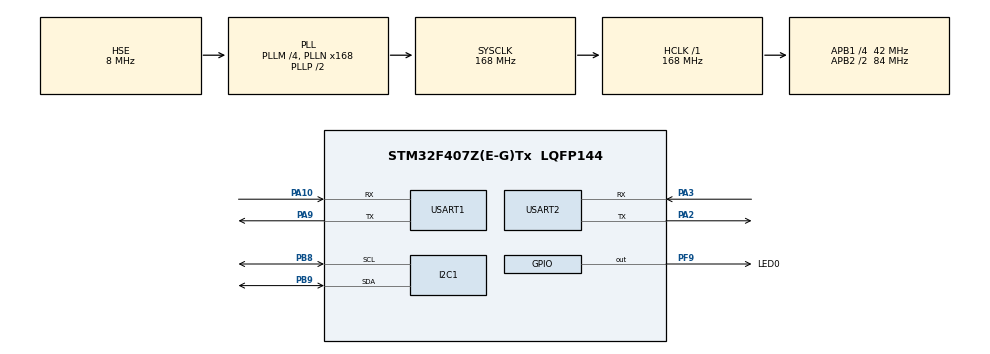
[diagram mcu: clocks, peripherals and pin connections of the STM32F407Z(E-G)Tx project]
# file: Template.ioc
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Mcu.Family=STM32F4
Mcu.Name=STM32F407Z(E-G)Tx
Mcu.Package=LQFP144
NVIC.PriorityGroup=NVIC_PRIORITYGROUP_4
NVIC.USART2_IRQn=true\:0\:0\:false\:false\:true\:true\:true
PA10.Mode=Asynchronous
PA10.Signal=USART1_RX
PA13.Mode=Serial_Wire
PA13.Signal=SYS_JTMS-SWDIO
PA14.Mode=Serial_Wire
PA14.Signal=SYS_JTCK-SWCLK
PA2.Mode=Asynchronous
PA2.Signal=USART2_TX
PA3.Mode=Asynchronous
PA3.Signal=USART2_RX
PA9.Mode=Asynchronous
PA9.Signal=USART1_TX
PB8.Mode=I2C
PB8.Signal=I2C1_SCL
PB9.Mode=I2C
PB9.Signal=I2C1_SDA
PF9.GPIO_Label=LED0
PF9.PinState=GPIO_PIN_SET
PF9.Signal=GPIO_Output
PH0-OSC_IN.Mode=HSE-External-Oscillator
PH0-OSC_IN.Signal=RCC_OSC_IN
PH1-OSC_OUT.Mode=HSE-External-Oscillator
PH1-OSC_OUT.Signal=RCC_OSC_OUT
ProjectManager.HeapSize=0x200
ProjectManager.StackSize=0x400
ProjectManager.TargetToolchain=MDK-ARM V5.27
RCC.48MHZClocksFreq_Value=84000000
RCC.AHBFreq_Value=168000000
RCC.APB1CLKDivider=RCC_HCLK_DIV4
RCC.APB1Freq_Value=42000000
RCC.APB1TimFreq_Value=84000000
RCC.APB2CLKDivider=RCC_HCLK_DIV2
RCC.APB2Freq_Value=84000000
RCC.APB2TimFreq_Value=168000000
RCC.CortexFreq_Value=168000000
RCC.HCLKFreq_Value=168000000
RCC.HSE_VALUE=8000000
RCC.HSI_VALUE=16000000
RCC.LSE_VALUE=32768
RCC.PLLM=4
RCC.PLLN=168
RCC.PLLSourceVirtual=RCC_PLLSOURCE_HSE
RCC.SYSCLKFreq_VALUE=168000000
RCC.SYSCLKSource=RCC_SYSCLKSOURCE_PLLCLK
RCC.VCOOutputFreq_Value=336000000
USART1.VirtualMode=VM_ASYNC
USART2.VirtualMode=VM_ASYNC
board=custom

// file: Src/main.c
/* USER CODE BEGIN Header */
/**
  ******************************************************************************
  * @file           : main.c
  * @brief          : Main program body
  ******************************************************************************
  * @attention
  *
  * <h2><center>&copy; Copyright (c) 2020 STMicroelectronics.
  * All rights reserved.</center></h2>
  *
  * This software component is licensed by ST under BSD 3-Clause license,
  * the "License"; You may not use this file except in compliance with the
  * License. You may obtain a copy of the License at:
  *                        opensource.org/licenses/BSD-3-Clause
  *
  ******************************************************************************
  */
/* USER CODE END Header */

#include "main.h"
#include "i2c.h"
#include "usart.h"
#include "gpio.h"

/* USER CODE BEGIN Includes */
#include <stdio.h>
#include "bmp280.h"
#include <jansson.h>
#include <string.h>
/* USER CODE END Includes */

void SystemClock_Config(void);

/* USER CODE BEGIN 0 */
#define RX_LEN        128

static uint8_t rx_byte;
static uint8_t rx_index = 0;
static uint8_t rx_buf[RX_LEN];
static uint8_t mqtt_connected = 0;

static void clear_rx_buf(void)
{
  rx_index = 0;
  memset(rx_buf, 0x00, RX_LEN);
}

//UART2接收数据中断的回调函数
void HAL_UART_RxCpltCallback(UART_HandleTypeDef *huart)
{
  HAL_StatusTypeDef status;
  /* Prevent unused argument(s) compilation warning */
  //UNUSED(huart);
  /* NOTE: This function should not be modified, when the callback is needed,
           the HAL_UART_RxCpltCallback could be implemented in the user file
   */
  //printf("%c", rx_byte);
  rx_buf[rx_index++] = rx_byte;
  do {
    status = HAL_UART_Receive_IT(&huart2, &rx_byte, 1);
  } while(status != HAL_OK);
}

static void wait_for_connected(void)
{
  printf("wait for mqtt connected...\r\n");
  while(!mqtt_connected){
    if(rx_index > 0 && (rx_buf[rx_index - 1] == 0x0d)){
      char *strx = strstr((const char *)rx_buf,
                    "CONNECT OK");
      if(strx) {
        printf("MQTT CONNECT OK!!!\r\n");
        mqtt_connected = 1;
      }
      clear_rx_buf();
    }
  }
}

static void publish(const char *topic, const char *msg, uint32_t len)
{
  uint8_t sendbuf1[128];
  uint8_t sendbuf2[128];
  uint8_t sendbytes = 0;

  memset(sendbuf1, 0x00, 128);
  memset(sendbuf2, 0x00, 128);
  sendbytes += snprintf((char *)sendbuf1, 128, "AT+PUBILSH=\"%s\",%d,0\r\n", topic, len);
  HAL_UART_Transmit(&huart2, sendbuf1, sendbytes, 0xFFFF);
  sendbytes += snprintf((char *)sendbuf2, 128, "%s\r\n", msg);
  HAL_Delay(100);
  HAL_UART_Transmit(&huart2, sendbuf2, sendbytes, 0xFFFF);
  HAL_Delay(100);
}

//json数据打印测试
void json_test(void)
{
  json_t *root;
  char *str;

  root = json_pack("{sisfss}",
          "id", 123,
          "temp", 23.8,
          "method", "post");
  str = json_dumps(root, JSON_ENCODE_ANY);
  if(str != NULL){
    printf("str: %s\r\n", str);
  } else {
    printf("failed to dumps root\r\n");
  }

  free(root);//释放内存
  free(str);
}

/* USER CODE END 0 */

int main(void)
{
  /* USER CODE BEGIN 1 */
	float temperature;
  static char temp_str[16];
  static uint8_t bytes = 0;
  /* USER CODE END 1 */

  /* MCU Configuration--------------------------------------------------------*/

  /* Reset of all peripherals, Initializes the Flash interface and the Systick. */
  HAL_Init();

  /* Configure the system clock */
  SystemClock_Config();

  /* Initialize all configured peripherals */
  MX_GPIO_Init();
  MX_USART1_UART_Init();
  MX_I2C1_Init();
  MX_USART2_UART_Init();
  /* USER CODE BEGIN 2 */
  bmp280_init();
  HAL_UART_Receive_IT(&huart2, &rx_byte, 1);
  //json_test();
  //AT指令集配置GPRS
//  HAL_UART_Transmit(&huart2, (uint8_t *)"AT+MQTTMODE?\r\n", 14, 0xFFFF);
//  HAL_UART_Transmit(&huart2, (uint8_t *)"AT+IPPORT=\"a139Uz564DX.iot-as-mqtt.cn-shanghai.aliyuncs.com\",1883\r\n", 67, 0xFFFF);
//  HAL_UART_Transmit(&huart2, (uint8_t *)"AT+CLIENTID=\"12345|securemode=3,signmethod=hmacsha1,timestamp=0|\"\r\n", 67, 0xFFFF);
//  HAL_UART_Transmit(&huart2, (uint8_t *)"AT+USERPWD=\"STM32F407ZG_NODE001&a139Uz564DX\",\"A30B37003C802426E0B50B5281C30DBFEBC8D925\"\r\n", 89, 0xFFFF);
//  HAL_UART_Transmit(&huart2, (uint8_t *)"AT&W\r\n", 6, 0xFFFF);
//  HAL_UART_Transmit(&huart2, (uint8_t *)"AT+CFUN=1\r\n", 11, 0xFFFF);

  HAL_UART_Transmit(&huart2, (uint8_t *)"AT+MQTTMODE?\r\n", 14, 0xFFFF);
  HAL_UART_Transmit(&huart2, (uint8_t *)"AT+IPPORT=\"a139Uz564DX.iot-as-mqtt.cn-shanghai.aliyuncs.com\",1883\r\n", 67, 0xFFFF);
  HAL_UART_Transmit(&huart2, (uint8_t *)"AT+CLIENTID=\"12345|securemode=3,signmethod=hmacsha1,timestamp=0|\"\r\n", 67, 0xFFFF);
  HAL_UART_Transmit(&huart2, (uint8_t *)"AT+USERPWD=\"STM32F407_NODE1&a139Uz564DX\",\"137C892C37178F42F8A9F32B8745C8A2F8A101F4\"\r\n", 85, 0xFFFF);
  HAL_UART_Transmit(&huart2, (uint8_t *)"AT&W\r\n", 6, 0xFFFF);
  HAL_UART_Transmit(&huart2, (uint8_t *)"AT+CFUN=1\r\n", 11, 0xFFFF);

  wait_for_connected();//等待GPRS连上阿里云
  /* USER CODE END 2 */

  /* Infinite loop */
  while (1)
  {

    /* USER CODE BEGIN 3 */
		HAL_GPIO_TogglePin(LED0_GPIO_Port, LED0_Pin);
		HAL_Delay(1000);
    //HAL_UART_Transmit(&huart2, (uint8_t *)"Hello", 5, 0xFFFF);

    if(rx_index > 0){
      printf("%s\r\n", (char *)rx_buf);
      clear_rx_buf();
    }

    temperature = bmp280_get_temp();
    printf("temperature = %f\r\n", temperature);
    memset(temp_str, 0, 16);
    bytes = snprintf(temp_str, 16, "%.02f", temperature);
    clear_rx_buf();
    publish("TEMP", temp_str, bytes);
  }
  /* USER CODE END 3 */
}

void SystemClock_Config(void)
{
  RCC_OscInitTypeDef RCC_OscInitStruct = {0};
  RCC_ClkInitTypeDef RCC_ClkInitStruct = {0};

  /** Configure the main internal regulator output voltage
  */
  __HAL_RCC_PWR_CLK_ENABLE();
  __HAL_PWR_VOLTAGESCALING_CONFIG(PWR_REGULATOR_VOLTAGE_SCALE1);
  /** Initializes the CPU, AHB and APB busses clocks
  */
  RCC_OscInitStruct.OscillatorType = RCC_OSCILLATORTYPE_HSE;
  RCC_OscInitStruct.HSEState = RCC_HSE_ON;
  RCC_OscInitStruct.PLL.PLLState = RCC_PLL_ON;
  RCC_OscInitStruct.PLL.PLLSource = RCC_PLLSOURCE_HSE;
  RCC_OscInitStruct.PLL.PLLM = 4;
  RCC_OscInitStruct.PLL.PLLN = 168;
  RCC_OscInitStruct.PLL.PLLP = RCC_PLLP_DIV2;
  RCC_OscInitStruct.PLL.PLLQ = 4;
  if (HAL_RCC_OscConfig(&RCC_OscInitStruct) != HAL_OK)
  {
    Error_Handler();
  }
  /** Initializes the CPU, AHB and APB busses clocks
  */
  RCC_ClkInitStruct.ClockType = RCC_CLOCKTYPE_HCLK|RCC_CLOCKTYPE_SYSCLK
                              |RCC_CLOCKTYPE_PCLK1|RCC_CLOCKTYPE_PCLK2;
  RCC_ClkInitStruct.SYSCLKSource = RCC_SYSCLKSOURCE_PLLCLK;
  RCC_ClkInitStruct.AHBCLKDivider = RCC_SYSCLK_DIV1;
  RCC_ClkInitStruct.APB1CLKDivider = RCC_HCLK_DIV4;
  RCC_ClkInitStruct.APB2CLKDivider = RCC_HCLK_DIV2;

  if (HAL_RCC_ClockConfig(&RCC_ClkInitStruct, FLASH_LATENCY_5) != HAL_OK)
  {
    Error_Handler();
  }
}

void Error_Handler(void)
{
}

/************************ (C) COPYRIGHT STMicroelectronics *****END OF FILE****/
